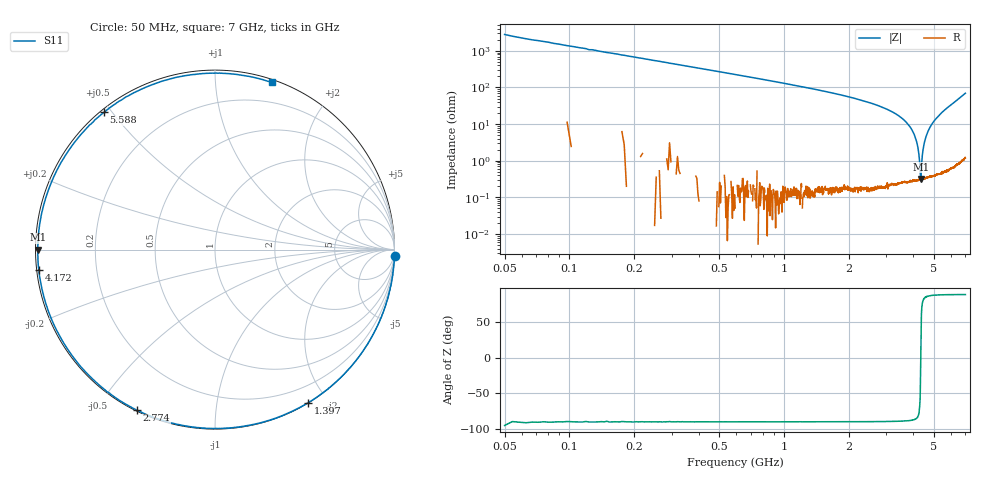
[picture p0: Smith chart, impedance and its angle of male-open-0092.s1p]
! This is a Touchstone .s1p format file
! It should be saved with .s1p extension
! HEWLETT PACKARD,8720D,0,7.74
! Date = 21 Mar 2018
! Time = 01:15:33
! S11 measured = FALSE
! S21 measured = FALSE
! S12 measured = FALSE
! S22 measured = TRUE
! Start frequency = 0.050000000 GHz
! Centre frequency  = 3.524999936 GHz
! Stop frequency  = 7.000000000 GHz
! IF bandwidth = 300 Hz
! Smoothing = OFF
! Smoothing aperture = 1.000000 %
! Averaging = OFF
! Averaging factor = 16
! Source power = On
! Source power = Auto mode
! Output power level = 5.000000 dBm
! Retrace power = Off
! Testset switching = Continuous
! Number of sweeps for test set switching (0=hold, 1=continuous,2-999 = number of sweeps) = 1
! Step sweep = On (check)
! List frequency sweep = Off (check)
! IFBW setting for a list-frequency table in swept list mode = Disabled (Check)
! Power setting for a list-frequency table in swept list mode = Disabled (Check)
! Measurement mode = Chop A and B
! Port extensions = OFF
! Port extension 1 = 0.000000 ps
! Port extension 2 = 57.970000 ps
! Points  = 1601
! Calibration kit = 3.5 mm D
! Power = 5.000000 dBm
! Frequency magS22 angS22
! Magnitudes are in log form
! Angles are in degrees
# MHz S DB R 50
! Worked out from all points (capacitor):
!   1601 points, 50 MHz to 7 GHz, reference 50 ohm
!   read as one part to ground: C = 1.17 pF near 84.75 MHz
!   lowest |Z| = 319 mohm at 4.333 GHz (marker M1)
!   series resonance near 4.333 GHz, so ESL is about 1.2 nH
!   S11 on the Smith chart (normalised r, x): 50 MHz: -5, -56; 1.397 GHz: 0.00, -1.78; 2.774 GHz: 0.00, -0.63; 4.172 GHz: 0.01, -0.06; 5.588 GHz: 0.01, +0.48; 7 GHz: 0.02, +1.40
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50  0.03 -2.0
275.875  0.00 -11.6
488.7188  -0.00 -20.6
701.5625  -0.00 -29.5
918.75  -0.01 -38.6
1183.719  -0.01 -49.7
1396.562  -0.01 -58.6
1787.5  -0.02 -75.0
2017.719  -0.03 -84.5
2226.219  -0.03 -93.3
2465.125  -0.04 -103.1
2656.25  -0.04 -111.1
2773.531  -0.05 -115.9
3129.719  -0.06 -130.6
3525  -0.08 -146.9
3837.75  -0.09 -159.7
4172.219  -0.10 -173.4
4332.938  -0.11 -180.0
4393.75  -0.11 177.6
4615.281  -0.12 168.5
4832.469  -0.13 159.7
5262.5  -0.13 142.1
5588.281  -0.14 128.9
5866.281  -0.14 117.6
6131.25  -0.14 106.8
6335.406  -0.15 98.4
6561.281  -0.15 89.2
7000  -0.14 71.3
